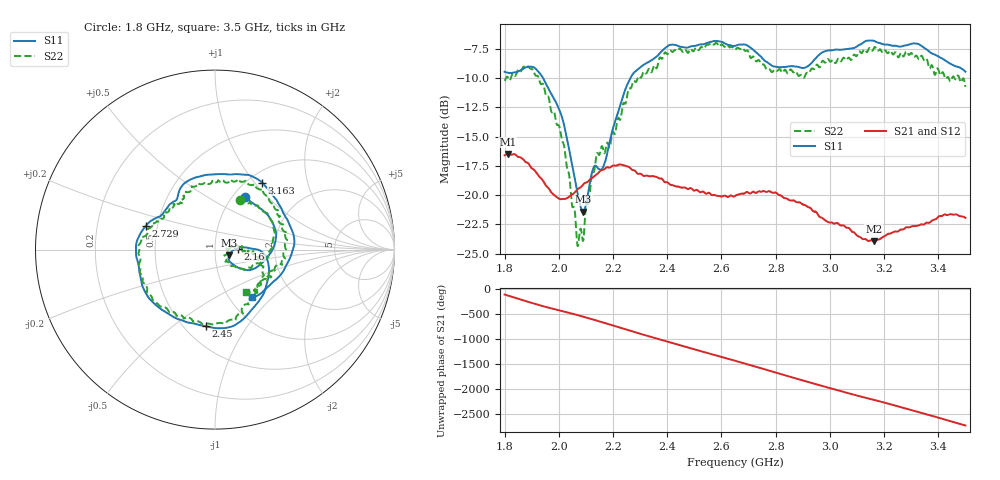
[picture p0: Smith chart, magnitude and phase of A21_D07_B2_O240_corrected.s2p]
! Created with skrf 1.9.0 (http://scikit-rf.org).
# Hz S RI R 50.0
!freq ReS11 ImS11 ReS21 ImS21 ReS12 ImS12 ReS22 ImS22
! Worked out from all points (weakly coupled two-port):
!   1601 points, 1.8 GHz to 3.5 GHz, reference 50 ohm
!   highest |S21| = -16.47 dB at 1.812 GHz (marker M1); lowest = -23.9 dB at 3.162 GHz (marker M2)
!   lowest |S11| = -21.4 dB at 2.09 GHz (marker M3), VSWR 1.19, Z = 58.4 - j3.7 ohm
!   |S11| at or under -10 dB: 1.942 GHz to 2.264 GHz (321.4 MHz wide, 15.3 % of centre)
!   |S22| runs from -24.4 to -7.0 dB; largest |S21 - S12| = 0.0028
!   S11 on the Smith chart (normalised r, x): 1.8 GHz: 1.13, +0.75; 2.16 GHz: 1.30, +0.01; 2.45 GHz: 0.63, -0.66; 2.729 GHz: 0.43, +0.14; 3.163 GHz: 1.16, +1.09; 3.5 GHz: 1.27, -0.76
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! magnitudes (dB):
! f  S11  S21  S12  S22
! 1.8 GHz  -9.4  -16.6  -16.6  -10.2
! 1.812 GHz  -9.5  -16.5  -16.5  -9.9
! 1.886 GHz  -9.0  -17.2  -17.3  -9.0
! 1.942 GHz  -10.0  -18.8  -18.8  -10.5
! 2.013 GHz  -13.4  -20.3  -20.3  -15.4
! 2.067 GHz  -19.6  -19.6  -19.6  -23.9
! 2.084 GHz  -21.2  -19.3  -19.2  -23.1
! 2.09 GHz  -21.4  -19.1  -19.1  -23.9
! 2.128 GHz  -17.6  -18.4  -18.4  -18.0
! 2.16 GHz  -17.7  -17.8  -17.8  -15.8
! 2.26 GHz  -10.2  -17.6  -17.6  -10.9
! 2.367 GHz  -8.0  -18.5  -18.5  -8.6
! 2.45 GHz  -7.3  -19.3  -19.3  -7.5
! 2.65 GHz  -7.2  -20.1  -20.0  -7.6
! 2.729 GHz  -7.8  -19.8  -19.8  -8.6
! 2.799 GHz  -9.0  -19.8  -19.8  -9.3
! 2.934 GHz  -8.7  -21.2  -21.2  -9.2
! 3.162 GHz  -6.8  -23.9  -23.9  -7.4
! 3.163 GHz  -6.8  -23.9  -23.9  -7.4
! 3.217 GHz  -7.2  -23.3  -23.3  -7.8
! 3.325 GHz  -7.1  -22.6  -22.6  -8.3
! 3.5 GHz  -9.4  -21.9  -21.9  -10.7
